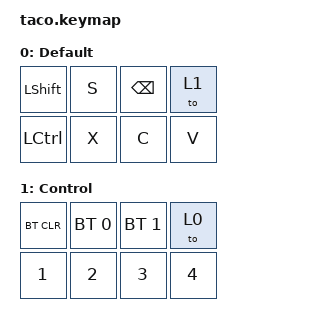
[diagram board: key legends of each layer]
/*
 * Copyright (c) 2020 The ZMK Contributors
 *
 * SPDX-License-Identifier: MIT
 */

#include <behaviors.dtsi>
#include <dt-bindings/zmk/keys.h>
#include <dt-bindings/zmk/bt.h>


/ {
        keymap {
                compatible = "zmk,keymap";

                default_layer { //layer 0
                        display-name = "Default";
// -------------------------------------------------------------------------------------
// | BT_CLR  |  BSPC  |
// | BT1 |  softoff |
                        bindings = <
   &kp LSHFT  &kp S &kp BSPC &to 1
   &kp LCTRL  &kp X &kp C &kp V
                        >;
                };
                lower_layer { //layer 1
                        display-name = "Control";
// -------------------------------------------------------------------------------------
// | BT_CLR  |  BSPC  |
// | BT1 |  softoff |
                        bindings = <
    &bt BT_CLR  &bt BT_SEL 0 &bt BT_SEL 1 &to 0
    &kp NUMBER_1   &kp NUMBER_2 &kp NUMBER_3 &kp NUMBER_4
                        >;
                };
        };
};

